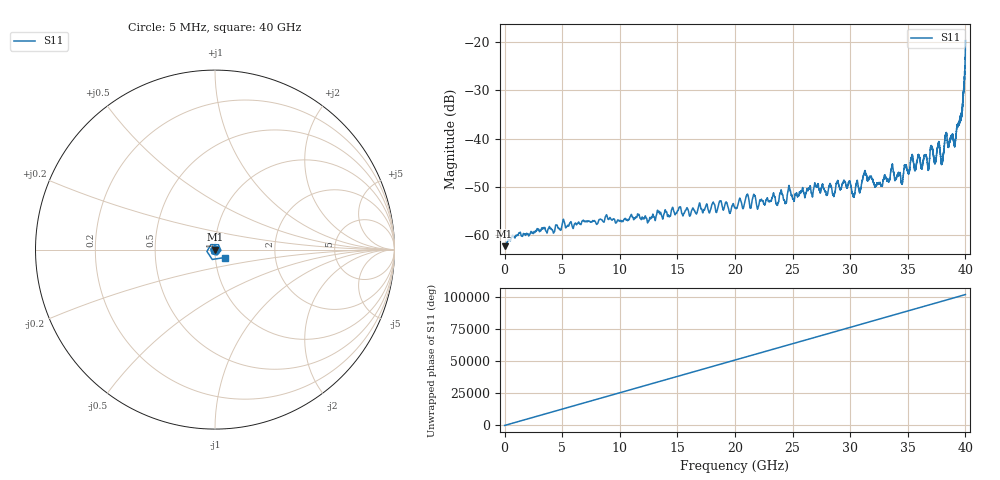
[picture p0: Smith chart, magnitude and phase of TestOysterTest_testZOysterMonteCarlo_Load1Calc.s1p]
# MHz MA S R 50.0
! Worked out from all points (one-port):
!   8000 points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, 5 MHz to 40 GHz, reference 50 ohm
!   lowest |S11| = -62.2 dB at 5 MHz (marker M1), VSWR 1.00, Z = 50.1 + j0.0175 ohm
!   |S11| at or under -10 dB: start of sweep to end of sweep
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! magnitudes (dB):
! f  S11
! 5 MHz  -62.2
! 5.005 GHz  -57.7
! 10.01 GHz  -57.1
! 15.01 GHz  -54.9
! 20 GHz  -54.3
! 21.04 GHz  -51.7
! 22.02 GHz  -54.1
! 24.02 GHz  -50.6
! 24.36 GHz  -53.4
! 24.73 GHz  -50.1
! 25 GHz  -52.4
! 27.05 GHz  -49.8
! 27.91 GHz  -51.4
! 30 GHz  -49.1
! 30.28 GHz  -51.9
! 31.25 GHz  -46.9
! 32.62 GHz  -49.2
! 33.62 GHz  -45.6
! 34.43 GHz  -49.0
! 35.01 GHz  -46.7
! 35.37 GHz  -43.5
! 36.74 GHz  -45.8
! 37.08 GHz  -41.8
! 37.98 GHz  -44.8
! 38.3 GHz  -39.2
! 39.05 GHz  -41.0
! 39.65 GHz  -34.8
! 40 GHz  -19.7
